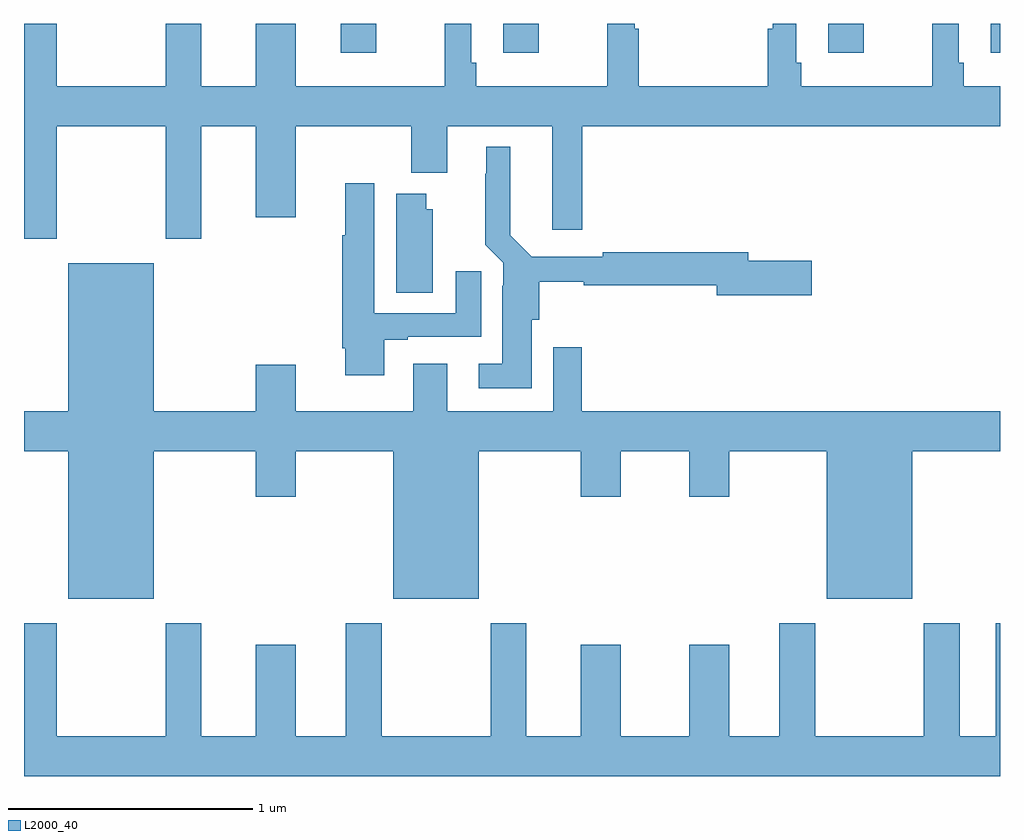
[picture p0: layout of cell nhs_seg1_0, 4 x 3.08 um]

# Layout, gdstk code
import gdstk
lib = gdstk.Library(unit=1e-6, precision=1e-09)
def R(c, l, rs):  # rectangles x0, y0, x1, y1
    for r in rs: c.add(gdstk.rectangle(r[:2], r[2:], *l))
def P(c, l, *ps):  # polygons
    for p in ps: c.add(gdstk.Polygon(p, *l))
L2000_40 = (2000, 40)

nhs_seg1_0 = lib.new_cell('nhs_seg1_0')
R(nhs_seg1_0, L2000_40, [(112.298,504.081,112.444,504.199), (112.964,504.081,113.11,504.199), (114.296,504.081,114.442,504.199), (114.962,504.081,115,504.199)])
P(nhs_seg1_0, L2000_40, [(111.135,503.78),(111.58,503.78),(111.58,503.319),(111.727,503.319),(111.727,503.78),(111.95,503.78),(111.95,503.406),(112.114,503.406),(112.114,503.78),(112.588,503.78),(112.588,503.588),(112.735,503.588),(112.735,503.78),(113.165,503.78),(113.165,503.355),(113.288,503.355),(113.288,503.78),(115,503.78),(115,503.944),(114.851,503.944),(114.851,504.04),(114.831,504.04),(114.831,504.199),(114.723,504.199),(114.723,503.944),(114.185,503.944),(114.185,504.04),(114.165,504.04),(114.165,504.199),(114.068,504.199),(114.068,504.18),(114.049,504.18),(114.049,503.944),(113.519,503.944),(113.519,504.18),(113.504,504.18),(113.504,504.199),(113.391,504.199),(113.391,503.944),(112.853,503.944),(112.853,504.04),(112.833,504.04),(112.833,504.199),(112.725,504.199),(112.725,503.944),(112.114,503.944),(112.114,504.199),(111.95,504.199),(111.95,503.944),(111.727,503.944),(111.727,504.199),(111.58,504.199),(111.58,503.944),(111.135,503.944),(111.135,504.199),(111,504.199),(111,503.319),(111.135,503.319)],
  [(113.08,502.986),(113.111,502.986),(113.111,503.143),(113.294,503.143),(113.294,503.128),(113.84,503.128),(113.84,503.086),(114.229,503.086),(114.229,503.228),(113.968,503.228),(113.968,503.264),(113.371,503.264),(113.371,503.244),(113.08,503.244),(112.993,503.332),(112.993,503.695),(112.895,503.695),(112.895,503.585),(112.891,503.585),(112.891,503.294),(112.965,503.22),(112.965,503.126),(112.961,503.126),(112.961,502.807),(112.863,502.807),(112.863,502.706),(113.08,502.706)],
  [(112.477,502.905),(112.573,502.905),(112.573,502.917),(112.873,502.917),(112.873,503.185),(112.769,503.185),(112.769,503.013),(112.435,503.013),(112.435,503.545),(112.316,503.545),(112.316,503.332),(112.304,503.332),(112.304,502.87),(112.316,502.87),(112.316,502.758),(112.477,502.758)],
  [(112.675,503.439),(112.648,503.439),(112.648,503.503),(112.526,503.503),(112.526,503.098),(112.675,503.098)],
  [(111.532,502.448),(111.95,502.448),(111.95,502.26),(112.114,502.26),(112.114,502.448),(112.514,502.448),(112.514,501.842),(112.864,501.842),(112.864,502.448),(113.282,502.448),(113.282,502.26),(113.446,502.26),(113.446,502.448),(113.726,502.448),(113.726,502.26),(113.89,502.26),(113.89,502.448),(114.29,502.448),(114.29,501.842),(114.64,501.842),(114.64,502.448),(115,502.448),(115,502.612),(113.285,502.612),(113.285,502.873),(113.169,502.873),(113.169,502.612),(112.735,502.612),(112.735,502.807),(112.595,502.807),(112.595,502.612),(112.114,502.612),(112.114,502.801),(111.95,502.801),(111.95,502.612),(111.532,502.612),(111.532,503.218),(111.182,503.218),(111.182,502.612),(111,502.612),(111,502.448),(111.182,502.448),(111.182,501.842),(111.532,501.842)],
  [(115,501.742),(114.983,501.742),(114.983,501.28),(114.835,501.28),(114.835,501.742),(114.688,501.742),(114.688,501.28),(114.243,501.28),(114.243,501.742),(114.095,501.742),(114.095,501.28),(113.89,501.28),(113.89,501.655),(113.726,501.655),(113.726,501.28),(113.446,501.28),(113.446,501.655),(113.282,501.655),(113.282,501.28),(113.059,501.28),(113.059,501.742),(112.912,501.742),(112.912,501.28),(112.467,501.28),(112.467,501.742),(112.319,501.742),(112.319,501.28),(112.114,501.28),(112.114,501.655),(111.95,501.655),(111.95,501.28),(111.727,501.28),(111.727,501.742),(111.58,501.742),(111.58,501.28),(111.135,501.28),(111.135,501.742),(111,501.742),(111,501.116),(115,501.116)])

lib.write_gds('nhs_seg1_0.gds')
